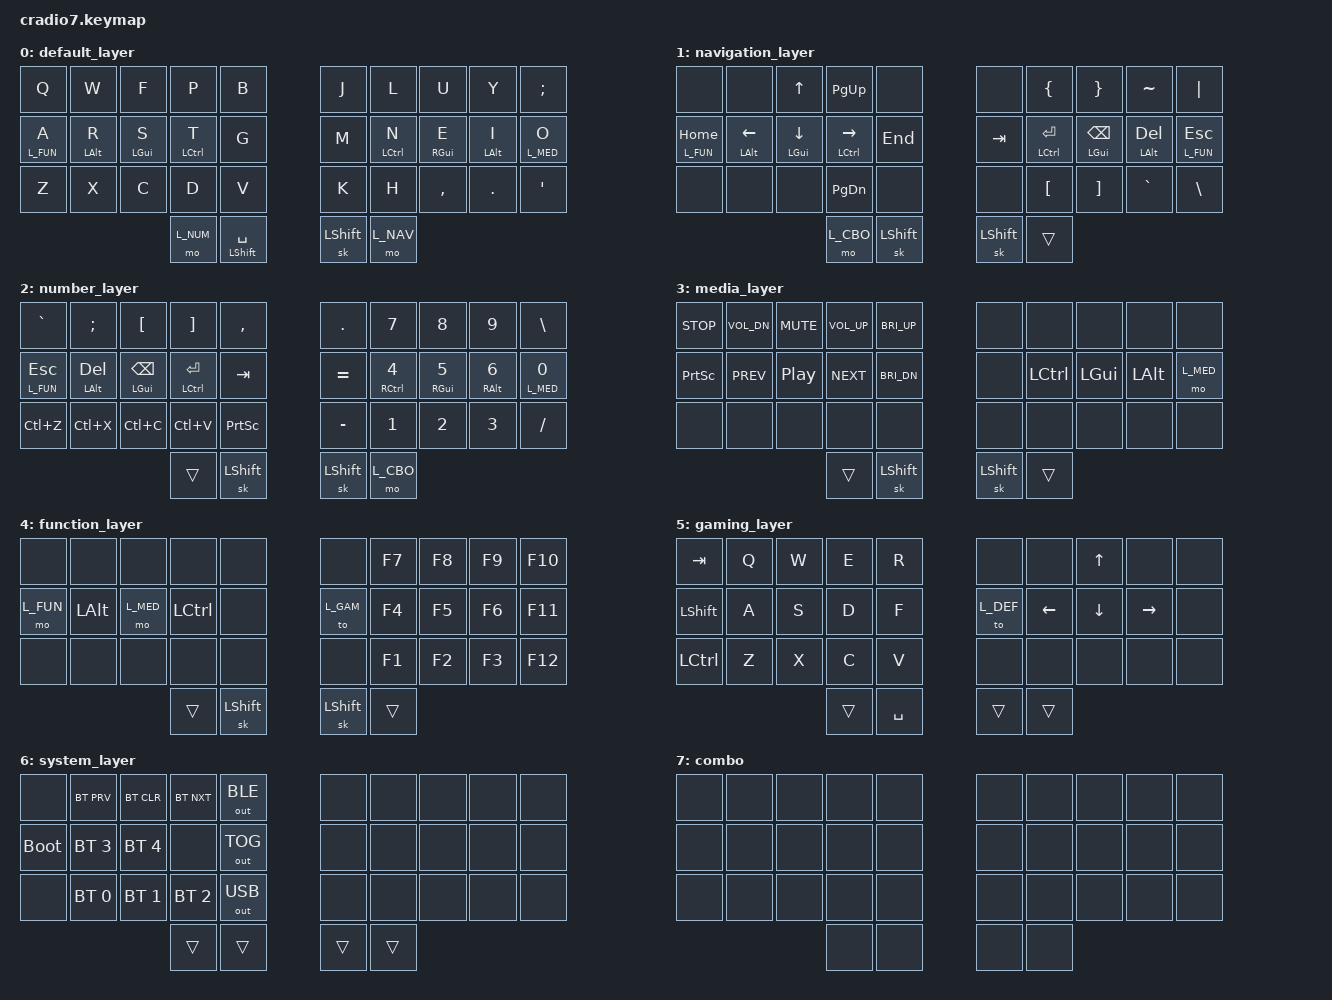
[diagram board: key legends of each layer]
/*
 * Copyright (c) 2020 The ZMK Contributors
 *
 * SPDX-License-Identifier: MIT
 */

#include <behaviors.dtsi>
#include <dt-bindings/zmk/bt.h>
#include <dt-bindings/zmk/keys.h>
#include <dt-bindings/zmk/outputs.h>

// GENERAL KEYS
#define GEN_NONE &none
#define GEN_TRAN &trans

#define GEN_CTRL &kp LCTRL
#define GEN_ALT &kp LALT
#define GEN_GUI &kp LGUI
#define GEN_FN &mo L_FUN
#define GEN_MED &mo L_MED

// DEFAULT LAYER

#define L_DEF 0

#define DEF_Q &kp Q
#define DEF_W &kp W
#define DEF_F &kp F
#define DEF_P &kp P
#define DEF_B &kp B
                        
#define DEF_A &lt L_FUN A 
#define DEF_R &mt LALT R 
#define DEF_S &mt LGUI S
#define DEF_T &mt LCTRL T 
#define DEF_G &kp G
        
#define DEF_Z &kp Z
#define DEF_X &kp X
#define DEF_C &kp C
#define DEF_D &kp D
#define DEF_V &kp V
                        

#define DEF_J &kp J
#define DEF_L &kp L
#define DEF_U &kp U
#define DEF_Y &kp Y
#define DEF_SEMI &kp SEMI

#define DEF_K &kp K
#define DEF_H &kp H
#define DEF_COMA &kp COMMA
#define DEF_DOT &kp DOT
#define DEF_QUOT &kp SQT

#define DEF_M &kp M
#define DEF_N &mt LCTRL N
#define DEF_E &mt RGUI E
#define DEF_I &mt LALT I 
#define DEF_O &lt L_MED O

#define DEF_SPC  &mt LSHIFT SPC
#define DEF_NAV  &mo L_NAV
#define DEF_NUM  &mo L_NUM
#define DEF_CBO  &mo L_CBO
#define DEF_SHFT &sk LSHIFT

// NAVIGATION LAYER
#define L_NAV 1

#define NAV_CAPS &kp CAPS
#define NAV_BSLH &kp BSLH
#define NAV_PIPE &kp PIPE
#define NAV_HOME &lt L_FUN HOME
#define NAV_UP &kp UP
#define NAV_END &kp END
#define NAV_PGUP &kp PG_UP

#define NAV_ESC &lt L_FUN ESC
#define NAV_LEFT &mt LALT LEFT
#define NAV_DOWN &mt LGUI DOWN
#define NAV_RGHT &mt LCTRL RIGHT
#define NAV_TAB &kp TAB

#define NAV_GRV &kp GRAVE
#define NAV_TILD &kp TILDE

#define NAV_DEL &mt LALT DEL
#define NAV_BSPC &mt LGUI BSPC
#define NAV_RET &mt LCTRL RET
#define NAV_PGDN &kp PG_DN

// NUM LAYER
#define L_NUM 2

#define NUM_LBKT &kp LBKT
#define NUM_LBRC &kp LBRC
#define NUM_N7 &kp N7 
#define NUM_N8 &kp N8
#define NUM_N9 &kp N9
#define NUM_RBKT &kp RBKT 
#define NUM_RBRC &kp RBRC

#define NUM_EQUL &kp EQUAL
#define NUM_PLUS &kp PLUS
#define NUM_AST  &kp ASTERISK 

#define NUM_N4 &mt RCTRL N4
#define NUM_N5 &mt RGUI N5
#define NUM_N6 &mt RALT N6
#define NUM_N0 &lt L_MED N0

#define NUM_MIN &kp MINUS
#define NUM_N1 &kp N1
#define NUM_N2 &kp N2
#define NUM_N3 &kp N3
#define NUM_FSLH &kp FSLH

// MEDIA LAYER
#define L_MED 3

#define MED_BRID &kp C_BRI_DN
#define MED_VOLU &kp C_VOL_UP
#define MED_BRIU &kp C_BRI_UP


#define MED_PRNT &kp PSCRN
#define MED_PREV &kp C_PREV
#define MED_PLAY &kp C_PP
#define MED_NEXT &kp C_NEXT

#define MED_MUTE &kp C_MUTE
#define MED_VOLD &kp C_VOL_DN
#define MED_STOP &kp C_STOP

#define MED_UNDO &kp LC(Z)
#define MED_CUT  &kp LC(X)
#define MED_COPY &kp LC(C)
#define NUM_PST  &kp LC(V)
#define NUM_STAB &kp LS(TAB)

//FUNCTION LAYER
#define L_FUN 4

#define FUN_F7 &kp F7
#define FUN_F8 &kp F8
#define FUN_F9 &kp F9
#define FUN_F10 &kp F10

#define FUN_GAME &to L_GAM
#define FUN_F4 &kp F4
#define FUN_F5 &kp F5
#define FUN_F6 &kp F6
#define FUN_F11 &kp F11

#define FUN_BOOT &bootloader
#define FUN_F1 &kp F1
#define FUN_F2 &kp F2
#define FUN_F3 &kp F3
#define FUN_F13 &kp F12

#define FUN_SPC &kp LC(SPC)

// GAMING LAYER
#define L_GAM 5

#define GAM_TAB &kp TAB
#define GAM_Q &kp Q
#define GAM_W &kp W
#define GAM_E &kp E
#define GAM_R &kp R

#define GAM_LSFT &kp LSHIFT
#define GAM_A &kp A
#define GAM_S &kp S
#define GAM_D &kp D
#define GAM_F &kp F

#define GAM_LCTL &kp LCTRL
#define GAM_Z &kp Z
#define GAM_X &kp X
#define GAM_C &kp C
#define GAM_V &kp V


#define GAM_UP &kp UP

#define GAM_DEF &to L_DEF
#define GAM_LEFT &kp LEFT
#define GAM_DOWN &kp DOWN
#define GAM_RGHT &kp RIGHT

#define GAM_ESC &kp ESC
#define GAM_SPC &kp SPACE

// SYSTEM LAYER
#define L_SYS 6

#define SYS_BOOT &bootloader
#define SYS_BTCL &bt BT_CLR
#define SYS_BTNX &bt BT_NXT
#define SYS_BTPR &bt BT_PRV
#define SYS_BLE &out OUT_BLE
#define SYS_USB &out OUT_USB
#define SYS_OTG &out OUT_TOG
#define SYS_BT0 &bt BT_SEL 0
#define SYS_BT1 &bt BT_SEL 1
#define SYS_BT2 &bt BT_SEL 2
#define SYS_BT3 &bt BT_SEL 3
#define SYS_BT4 &bt BT_SEL 4

// COMBO LAYER
#define L_CBO 7

// POSITIONS
#define P_Q 0
#define P_W 1
#define P_F 2
#define P_P 3
#define P_B 4
#define P_J 5
#define P_L 6
#define P_U 7
#define P_Y 8
#define P_SEMI 9
#define P_A 10
#define P_R 11
#define P_S 12
#define P_T 13
#define P_G 14
#define P_M 15
#define P_N 16
#define P_E 17
#define P_I 18
#define P_O 19
#define P_Z 20
#define P_X 21
#define P_C 22
#define P_D 23
#define P_V 24
#define P_K 25
#define P_H 26
#define P_COMMA 27
#define P_DOT 28
#define P_SQT 29
#define P_COMBO 31 32

#define P_LALT 30
#define P_SPC 31
#define P_SHFT 32
#define P_RALT 33

#define COMBO_TIMEOUT 100
#define MACRO_TAP 10
#define MACRO_WAIT 0

&mt {
  flavor = "tap-preferred";
  tapping_term_ms = <200>;
};

&lt {
  flavor = "tap-preferred";
  tapping_term_ms = <200>;
};
&sl {
    release-after-ms = <1000>;
};
&sk {
    release-after-ms = <2000>;
    quick-release;
};
/ {
  macros {
    ZMK_MACRO(dot,
        wait-ms = <MACRO_WAIT>;
        tap-ms = <MACRO_TAP>;
        bindings = <&kp BSPC &kp DOT &kp SPACE &sk LSHIFT>;
    )
    ZMK_MACRO(comma,
        wait-ms = <MACRO_WAIT>;
        tap-ms = <MACRO_TAP>;
        bindings = <&kp BSPC &kp COMMA &kp SPACE>;
    )
    #include "macros.dtsi"
  };
  combos {
    compatible = "zmk,combos";
    combo_comma {
      timeout-ms = <COMBO_TIMEOUT>;
      key-positions = <P_COMMA>;
      bindings = <&comma>;
      layers = <7>;
    };
    combo_dot {
      timeout-ms = <COMBO_TIMEOUT>;
      key-positions = <P_DOT>;
      bindings = <&dot>;
      layers = <7>;
    };
    combo_system {
      timeout-ms = <100>;
      key-positions = <P_Q P_Z>;
      bindings = <&tog L_SYS>;
      layers = <0>;
    };
    combo_boot {
      timeout-ms = <100>;
      key-positions = <P_Q P_B>;
      bindings = <SYS_BOOT>;
      layers = <0>;
    };
    #include "combos.dtsi"
  };

  keymap {
    compatible = "zmk,keymap";

    default_layer {
      bindings = <
        DEF_Q    DEF_W    DEF_F    DEF_P    DEF_B          DEF_J    DEF_L    DEF_U    DEF_Y    DEF_SEMI
        DEF_A    DEF_R    DEF_S    DEF_T    DEF_G          DEF_M    DEF_N    DEF_E    DEF_I    DEF_O
        DEF_Z    DEF_X    DEF_C    DEF_D    DEF_V          DEF_K    DEF_H    DEF_COMA DEF_DOT  DEF_QUOT
                                   DEF_NUM  DEF_SPC        DEF_SHFT DEF_NAV
      >;
    };

    navigation_layer {
      bindings = <
        GEN_NONE GEN_NONE NAV_UP   NAV_PGUP GEN_NONE       GEN_NONE NUM_LBRC NUM_RBRC NAV_TILD NAV_PIPE
        NAV_HOME NAV_LEFT NAV_DOWN NAV_RGHT NAV_END        NAV_TAB  NAV_RET  NAV_BSPC NAV_DEL  NAV_ESC  
        GEN_NONE GEN_NONE GEN_NONE NAV_PGDN GEN_NONE       GEN_NONE NUM_LBKT NUM_RBKT NAV_GRV  NAV_BSLH
                                   DEF_CBO  DEF_SHFT       DEF_SHFT GEN_TRAN
      >;
    };

    number_layer {
      bindings = <
        NAV_GRV  DEF_SEMI NUM_LBKT NUM_RBKT DEF_COMA       DEF_DOT  NUM_N7    NUM_N8    NUM_N9    NAV_BSLH
        NAV_ESC  NAV_DEL  NAV_BSPC NAV_RET  NAV_TAB        NUM_EQUL NUM_N4    NUM_N5    NUM_N6    NUM_N0
        MED_UNDO MED_CUT  MED_COPY NUM_PST  MED_PRNT       NUM_MIN  NUM_N1    NUM_N2    NUM_N3    NUM_FSLH
                                   GEN_TRAN DEF_SHFT       DEF_SHFT DEF_CBO
      >;
    };

    media_layer {
      bindings = <
        MED_STOP MED_VOLD MED_MUTE MED_VOLU MED_BRIU       GEN_NONE GEN_NONE GEN_NONE GEN_NONE GEN_NONE
        MED_PRNT MED_PREV MED_PLAY MED_NEXT MED_BRID       GEN_NONE GEN_CTRL GEN_GUI  GEN_ALT  GEN_MED
        GEN_NONE GEN_NONE GEN_NONE GEN_NONE GEN_NONE       GEN_NONE GEN_NONE GEN_NONE GEN_NONE GEN_NONE
                                   GEN_TRAN DEF_SHFT       DEF_SHFT GEN_TRAN
      >;
    };

    function_layer {
      bindings = <
        GEN_NONE GEN_NONE GEN_NONE GEN_NONE GEN_NONE       GEN_NONE FUN_F7   FUN_F8   FUN_F9   FUN_F10
        GEN_FN   GEN_ALT  GEN_MED  GEN_CTRL GEN_NONE       FUN_GAME FUN_F4   FUN_F5   FUN_F6   FUN_F11
        GEN_NONE GEN_NONE GEN_NONE GEN_NONE GEN_NONE       GEN_NONE FUN_F1   FUN_F2   FUN_F3   FUN_F13
                                   GEN_TRAN DEF_SHFT       DEF_SHFT GEN_TRAN
      >;
    };

    gaming_layer {
      bindings = <
        GAM_TAB  GAM_Q    GAM_W    GAM_E    GAM_R          GEN_NONE GEN_NONE GAM_UP   GEN_NONE GEN_NONE
        GAM_LSFT GAM_A    GAM_S    GAM_D    GAM_F          GAM_DEF  GAM_LEFT GAM_DOWN GAM_RGHT GEN_NONE
        GAM_LCTL GAM_Z    GAM_X    GAM_C    GAM_V          GEN_NONE GEN_NONE GEN_NONE GEN_NONE GEN_NONE
                                   GEN_TRAN GAM_SPC        GEN_TRAN GEN_TRAN
      >;
    };

    system_layer {
      bindings = <
        GEN_NONE SYS_BTPR SYS_BTCL SYS_BTNX SYS_BLE        GEN_NONE GEN_NONE GEN_NONE GEN_NONE GEN_NONE
        SYS_BOOT SYS_BT3  SYS_BT4  GEN_NONE SYS_OTG        GEN_NONE GEN_NONE GEN_NONE GEN_NONE GEN_NONE
        GEN_NONE SYS_BT0  SYS_BT1  SYS_BT2  SYS_USB        GEN_NONE GEN_NONE GEN_NONE GEN_NONE GEN_NONE
                                   GEN_TRAN GEN_TRAN       GEN_TRAN GEN_TRAN
      >;
    };

    combo {
      bindings = <
        GEN_NONE GEN_NONE GEN_NONE GEN_NONE GEN_NONE       GEN_NONE GEN_NONE GEN_NONE GEN_NONE GEN_NONE
        GEN_NONE GEN_NONE GEN_NONE GEN_NONE GEN_NONE       GEN_NONE GEN_NONE GEN_NONE GEN_NONE GEN_NONE
        GEN_NONE GEN_NONE GEN_NONE GEN_NONE GEN_NONE       GEN_NONE GEN_NONE GEN_NONE GEN_NONE GEN_NONE
                                   GEN_NONE GEN_NONE       GEN_NONE GEN_NONE
      >;
    };

    // empty_layer {
    //   bindings = <
    //     GEN_TRAN GEN_TRAN GEN_TRAN GEN_TRAN GEN_TRAN       GEN_TRAN GEN_TRAN GEN_TRAN GEN_TRAN GEN_TRAN
    //     GEN_TRAN GEN_TRAN GEN_TRAN GEN_TRAN GEN_TRAN       GEN_TRAN GEN_TRAN GEN_TRAN GEN_TRAN GEN_TRAN
    //     GEN_TRAN GEN_TRAN GEN_TRAN GEN_TRAN GEN_TRAN       GEN_TRAN GEN_TRAN GEN_TRAN GEN_TRAN GEN_TRAN
    //                                GEN_TRAN GEN_TRAN       GEN_TRAN GEN_TRAN
    //   >;
    // };

  };
};
